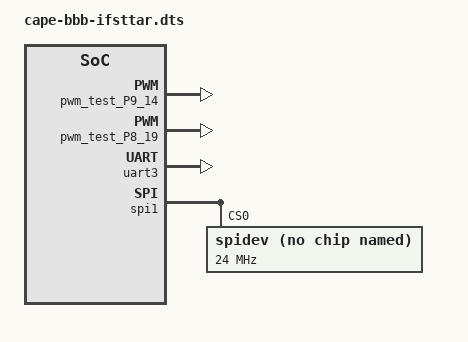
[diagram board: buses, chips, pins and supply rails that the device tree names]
/*  
 * Copyright (C) 2012 Texas Instruments Incorporated - http://www.ti.com/
 *
 * This program is free software; you can redistribute it and/or modify
 * it under the terms of the GNU General Purpose License Version 2 as
 * published by the Free Software Foundation
 *
 * Original from: github.com/jadonk/validation-scripts/blob/master/test-capemgr/ 
 *
 * Modified by FSCOM for IFSTTAR ITS project
 */

/dts-v1/;
/plugin/; /* Allow undefined label references and record them */

/{
    /* Compatible with both the original and the beaglebone black */    
    compatible = "ti,beaglebone", "ti,beaglebone-black";

    /* Identification of the cape */
    part-number = "cape-bbb-ifsttar";
    version = "00A0";

    /* State the resources this cape uses */
    exclusive-use =
        /* RTC MFP output */
        "P8.7",              /* MFP */
        /* Temp. Sensor alert */
        "P8.8",              /* TEMP_ALERT_INT */
        /* Gyro int. outputs */
        "P8.9",              /* GYRO_INT1 */
        "P8.10",             /* GYRO_INT2 */
        /* GPS outputs */
        "P8.11",             /* GPS_OUTPUT */
        /* The pin headers used for LEDs */
        "P8.12",             /* Green led */
        "P8.13",             /* Red led */
        /* Acc. int. outputs */
        "P8.14",             /* ADXL345_INT1 */
        "P8.15",             /* ADXL345_INT2 */
        "P8.26",             /* V_FAN_MOTOR_LOCK */
        /* LCD */
        "P8.16",             /* LCD_EN */
        "P8.17",             /* LCD_RW */
        "P8.18",             /* LCD_RS */
	"P8.39",             /* LVD_DB7 */
	"P8.40",             /* LVD_DB6 */
	"P8.41",             /* LVD_DB5 */
	"P8.42",             /* LVD_DB4 */
        /* The pin headers used for I2C#1 mapped into /dev/i2c2 - See /sys/bus/i2c/devices/i2c-* and check with physical address */
        /*"P9.19",              i2c1_scl */
        /*"P9.20",              i2c1_sda */
        /*"i2c1",               the hardware ip uses */
        /* The pin headers used for SPI Chip Select */
        "P9.15",             /* cs_can */
        "P9.16",             /* cs_adc */
        /* The pin headers used for UART2 */
        "P9.21",             /* uart2_txd */
        "P9.22",             /* uart2_rxd */
        "uart2",             /* the hardware ip uses */
        /* The pin header uses for PWM#1A */
        "P9.14",            /* pwm: ehrpwm1A */
        "ehrpwm1A",         /* the hardware IP uses */
        /* The pin header uses for PWM#2A */
        "P8.19",            /* pwm: ehrpwm2A */
        "ehrpwm2A",         /* the hardware IP uses */
        /* The pin headers used for SPI */
        "P9.29",            /* spi1_miso */
        "P9.30",            /* spi1_mosi */
        "P9.31",            /* spi1_sck */
        "spi1";             /* the hardware ip uses */
                    
    fragment@0 {
        target = <&am33xx_pinmux>;    
        __overlay__ {
            bbb_gpios_pins: pinmux_bbb_gpios_pins {
            pinctrl-single,pins = <
                    0x090 0x27  /* P8_7  36 66 INPUT - PULL DOWN - MODE7 - The RTC MFP */
                    0x094 0x27  /* P8_8  37 67 INPUT - PULL DOWN - MODE7 - The TEMP_ALERT */
                    0x09C 0x27  /* P8_9  39 69 INPUT - PULL DOWN - MODE7 - The GYRO_INT1 */
                    0x098 0x27  /* P8_10 30 68 INPUT - PULL DOWN - MODE7 - The GYRO_INT2 */
                    0x034 0x27  /* P8_11 13 45 INPUT - PULL DOWN - MODE7 - The GPS_OUTPUT */
                    0x030 0x0F  /* P8_12 12 44 OUTPUT - NO PULL UP/DOWN - MODE7 - The green led */
                    0x024 0x0F  /* P8_13 09 23 OUTPUT - NO PULL UP/DOWN - MODE7 - The red led */
                    0x028 0x27  /* P8_14 10 16 INPUT - PULL DOWN - MODE7 - The ADXL345_INT1 */
                    0x03C 0x27  /* P8_15 15 47 INPUT - PULL DOWN - MODE7 - The ADXL345_INT2 */
                    0x038 0x0F  /* P8_16 14 46 OUTPUT - NO PULL UP/DOWN - MODE7 - LCD_EN */
                    0x02C 0x0F  /* P8_17 11 27 OUTPUT - NO PULL UP/DOWN - MODE7 - LCD_RW */
                    0x08C 0x0F  /* P8.18 35 65 OUTPUT - NO PULL UP/DOWN - MODE7 - LCD_RS */
                    0x07C 0x27  /* P8_26 31 61 INPUT - PULL DOWN - MODE7 - The V_FAN_MOTOR_LOCK */
                    0x0B8 0x2F  /* P8_39 46 76 INPUT - NO PULL UP/DOWN - MODE7 - LVD_DB7 */
                    0x0BC 0x2F  /* P8_40 47 77 INPUT - NO PULL UP/DOWN - MODE7 - LVD_DB6 */
                    0x0B0 0x2F  /* P8_41 44 74 INPUT - NO PULL UP/DOWN - MODE7 - LVD_DB5 */
                    0x0B4 0x2F  /* P8_42 45 75 INPUT - NO PULL UP/DOWN - MODE7 - LVD_DB4 */
                    0x040 0x07  /* P9_15 16 48 OUTPUT - PULL UP - MODE7 - The cs_can */
                    0x04c 0x07  /* P9_16 19 51 OUTPUT - PULL UP - MODE7 - The cs_adc */
                >;
            };
        };
    };
    fragment@1 {
        target = <&ocp>;
        __overlay__ {
            compatible = "bone-pinmux-helper";
            pinctrl-names = "default";
            pinctrl-0 = <&bbb_gpios_pins>;  /* Refer to fragment#0/pinctrl_leds overlay */
            status = "okay";
        };
    };
    /* The pin headers used for UART2 */
    fragment@2 {
        target = <&am33xx_pinmux>;
        __overlay__ {
                bbb_uart2_pins: pinmux_bbb_uart2_pins {
                pinctrl-single,pins = <
                    0x150 0x21  /* P9_22 84 02 INPUT - PULL UP - MODE1 - UART2_RX */
                    0x154 0x01  /* P9_21 85 03 OUTPUT - PULL UP - MODE1 - UART2_TX */
                >;
            };
        };
    };
    fragment@3 {
        target = <&uart3>; /* Warning: this is uart2+1 */
        __overlay__{
            status = "okay";
            pinctrl-names = "default";
            pinctrl-0 = <&bbb_uart2_pins>;
        };
    };
    /* The pin header uses for PWM#1A */
    fragment@4 {
        target = <&am33xx_pinmux>;
        __overlay__ {
            bbb_pwm1a_pins: pinmux_bbb_pwm1a_pins {
                pinctrl-single,pins = <
                    0x048 0x06 /* P9_14 18 50 OUTPUT - NO PULL UP/DOWN - MODE6 */
                >;
            };
        };
    };
    fragment@5 {
        target = <&ocp>;
        __overlay__ {
            pwm_test_P9_14 {
                compatible = "pwm_test";
                pwm-names = "PWM_P9_14";
                pwms = <&ehrpwm1 0 500000 1>;
                status = "okay";
                pinctrl-names = "default";
                pinctrl-0 = <&bbb_pwm1a_pins>;
                enabled = <0x0>;
		duty = <0x0>;
            };
        };
    };
    /* The pin header uses for PWM#2A */
    fragment@6 {
        target = <&am33xx_pinmux>;
        __overlay__ {
            bbb_pwm2a_pins: pinmux_bbb_pwm2a_pins {
                pinctrl-single,pins = <
                    0x020 0x04 /* P8_19 8 22 OUTPUT - NO PULL UP/DOWN - MODE4 */
                >;
            };
        };
    };
    fragment@7 {
        target = <&ocp>;
        __overlay__ {
            pwm_test_P8_19 {
                compatible = "pwm_test";
                pwm-names = "PWM_P8_19";
                pwms = <&ehrpwm2 0 40000 1>;
                status = "okay";
                pinctrl-names = "default";
                pinctrl-0 = <&bbb_pwm2a_pins>;
                enabled = <0x0>;
		duty = <0x0>;
            };
        };
    };
    /* The pin headers used for SPI */
    fragment@8 {
        target = <&am33xx_pinmux>;
        __overlay__ {
            bbb_spi1_0_pins: pinmux_bbb_spi1_0_pins {
                pinctrl-single,pins = <
                    0x194 0x33 /* P9_29 101 111 INPUT - PULL UP - MODE3  - MISO*/
                    0x198 0x13 /* P9_30 102 112 OUTPUT - PULL UP - MODE3 - MOSI */
                    0x190 0x33 /* P9_31 100 110 INPUT - PULL UP - MODE3  - SCK (TODO shall be output) */
                >;
            };
        };
   };
   fragment@9 {
       target = <&spi1>;
       __overlay__ {
           #address-cells = <1>;
           #size-cells = <0>;
           status = "okay";
           pinctrl-names = "default";
           pinctrl-0 = <&bbb_spi1_0_pins>;
           spidev@1 {
               spi-max-frequency = <24000000>;
               reg = <0>;
               compatible = "linux,spidev";
           };
       };
   };
}; /* End of file */
